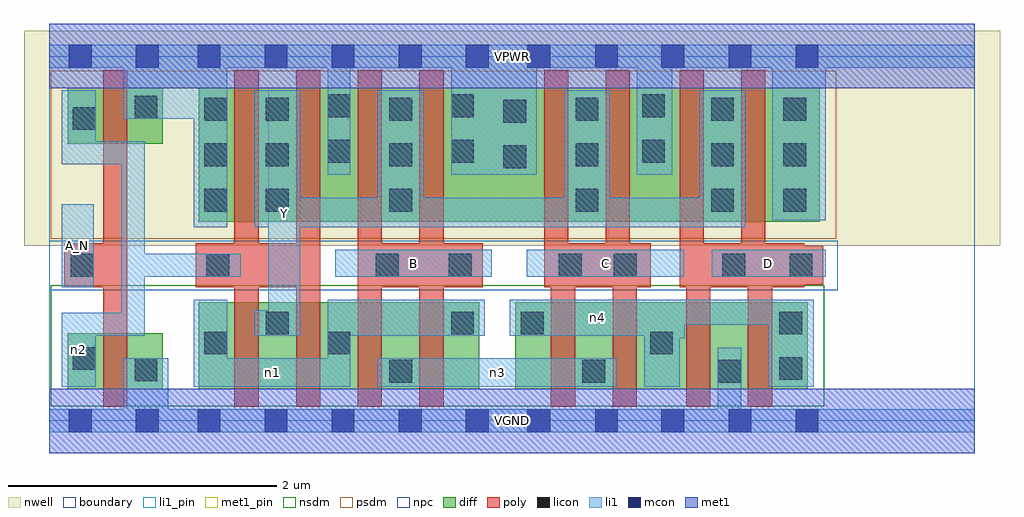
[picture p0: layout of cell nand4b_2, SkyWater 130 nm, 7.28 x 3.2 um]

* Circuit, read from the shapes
.subckt nand4b_2 A_N B C D VGND VPWR Y n1 n2 n3 n4
XM1 VGND A_N n2 VSUBS sky130_fd_pr__nfet_01v8 w=0.42 l=0.18
XM2 Y n2 n1 VSUBS sky130_fd_pr__nfet_01v8 w=0.65 l=0.18 m=2
XM3 n3 B n1 VSUBS sky130_fd_pr__nfet_01v8 w=0.65 l=0.18 m=2
XM4 n3 C n4 VSUBS sky130_fd_pr__nfet_01v8 w=0.65 l=0.18 m=2
XM5 VGND D n4 VSUBS sky130_fd_pr__nfet_01v8 w=0.65 l=0.18 m=2
XM6 VPWR A_N n2 n5 sky130_fd_pr__pfet_01v8 w=0.42 l=0.18
XM7 Y n2 VPWR n5 sky130_fd_pr__pfet_01v8 w=1 l=0.18 m=2
XM8 Y B VPWR n5 sky130_fd_pr__pfet_01v8 w=1 l=0.18 m=2
XM9 Y C VPWR n5 sky130_fd_pr__pfet_01v8 w=1 l=0.18 m=2
XM10 Y D VPWR n5 sky130_fd_pr__pfet_01v8 w=1 l=0.18 m=2
.ends

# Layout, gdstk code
import gdstk
lib = gdstk.Library(unit=1e-6, precision=1e-09)
def R(c, l, rs):  # rectangles x0, y0, x1, y1
    for r in rs: c.add(gdstk.rectangle(r[:2], r[2:], *l))
def A(c, l, x, y, w, h, nx, ny, dx, dy):  # array of equal rectangles
    R(c, l, [(x+i*dx, y+j*dy, x+i*dx+w, y+j*dy+h) for i in range(nx) for j in range(ny)])
nwell = (64, 20)
diff = (65, 20)
poly = (66, 20)
licon = (66, 44)
li1_pin = (67, 16)
li1 = (67, 20)
mcon = (67, 44)
met1_pin = (68, 16)
met1 = (68, 20)
nsdm = (93, 44)
psdm = (94, 20)
npc = (95, 20)
boundary = (235, 4)

nand4b_2 = lib.new_cell('nand4b_2')
R(nand4b_2, nwell, [(-0.19,1.305,7.09,2.91), (0,1.305,6.9,2.91)])
R(nand4b_2, diff, [(0.135,0.235,0.845,0.655), (1.115,0.235,3.205,0.885), (3.475,0.235,5.655,0.885), (1.115,1.485,5.745,2.485), (0.135,2.065,0.845,2.485)])
A(nand4b_2, poly, 1.38, 0.105, 0.18, 2.51, 4, 1, 0.46, 0)
R(nand4b_2, poly, [(0.4,0.105,0.58,2.615), (3.74,0.105,3.92,1.325), (4.2,0.105,4.38,1.325), (4.75,0.105,4.93,1.325), (5.21,0.105,5.39,1.325), (0.11,0.995,0.58,1.325), (1.09,0.995,2.02,1.325), (2.3,0.995,3.23,1.325), (3.69,0.995,3.87,2.615), (3.69,0.995,4.485,1.325), (4.15,0.995,4.33,2.615), (4.7,0.995,5.63,1.325), (4.7,0.995,4.88,2.615), (5.16,0.995,5.34,2.615), (4.7,1.015,5.77,1.305)])
A(nand4b_2, licon, 1.155, 1.56, 0.17, 0.17, 1, 3, 0, 0.34)
A(nand4b_2, licon, 1.615, 1.56, 0.17, 0.17, 1, 3, 0, 0.34)
A(nand4b_2, licon, 2.535, 1.56, 0.17, 0.17, 1, 3, 0, 0.34)
A(nand4b_2, licon, 3.925, 1.56, 0.17, 0.17, 1, 3, 0, 0.34)
A(nand4b_2, licon, 4.935, 1.56, 0.17, 0.17, 1, 3, 0, 0.34)
A(nand4b_2, licon, 5.475, 1.56, 0.17, 0.17, 1, 3, 0, 0.34)
R(nand4b_2, licon, [(2.535,0.285,2.705,0.455), (3.975,0.285,4.145,0.455), (4.985,0.285,5.155,0.455), (0.635,0.295,0.805,0.465), (5.445,0.305,5.615,0.475), (0.175,0.38,0.345,0.55), (1.155,0.495,1.325,0.665), (2.075,0.495,2.245,0.665), (4.48,0.495,4.65,0.665), (1.615,0.645,1.785,0.815), (2.995,0.645,3.165,0.815), (3.515,0.645,3.685,0.815), (5.445,0.645,5.615,0.815), (0.16,1.075,0.33,1.245), (1.17,1.075,1.34,1.245), (2.435,1.075,2.605,1.245), (2.98,1.075,3.15,1.245), (3.8,1.075,3.97,1.245), (4.21,1.075,4.38,1.245), (5.02,1.075,5.19,1.245), (5.52,1.075,5.69,1.245), (3.385,1.885,3.555,2.055), (2.075,1.925,2.245,2.095), (2.995,1.925,3.165,2.095), (4.42,1.925,4.59,2.095), (0.175,2.17,0.345,2.34), (3.385,2.225,3.555,2.395), (0.635,2.255,0.805,2.425), (2.075,2.265,2.245,2.435), (2.995,2.265,3.165,2.435), (4.42,2.265,4.59,2.435)])
R(nand4b_2, li1_pin, [(1.63,0.635,1.87,2.465), (0.09,0.995,0.33,1.615), (2.13,1.075,3.3,1.275), (3.56,1.075,4.735,1.275), (4.94,1.075,5.79,1.275)])
R(nand4b_2, li1, [(0,-0.085,6.9,0.085), (0.55,-0.085,0.885,0.465), (4.985,-0.085,5.16,0.545), (0.09,0.255,0.345,0.805), (1.075,0.255,2.245,0.465), (1.075,0.255,1.325,0.905), (2.075,0.255,2.245,0.905), (2.45,0.255,4.23,0.465), (4.435,0.255,4.7,0.905), (5.36,0.255,5.7,0.905), (4.435,0.615,4.74,0.905), (0.09,0.635,0.71,0.805), (0.535,0.635,0.71,2.085), (1.53,0.635,1.87,0.825), (1.63,0.635,1.87,2.465), (2.075,0.635,3.245,0.905), (3.435,0.635,4.74,0.905), (3.435,0.715,5.7,0.905), (0.09,0.995,0.33,1.615), (0.535,1.075,1.425,1.245), (2.13,1.075,3.3,1.275), (3.56,1.075,4.735,1.275), (4.94,1.075,5.79,1.275), (1.075,1.445,1.325,2.805), (1.53,1.445,5.19,1.665), (1.53,1.445,1.87,2.465), (2.45,1.445,2.79,2.465), (3.84,1.445,4.18,2.465), (4.85,1.445,5.19,2.465), (5.39,1.495,5.79,2.805), (2.075,1.835,2.245,2.805), (2.995,1.835,3.635,2.805), (4.38,1.835,4.645,2.805), (0.09,1.915,0.345,2.465), (0.09,1.915,0.71,2.085), (0.55,2.255,1.325,2.805), (0,2.635,6.9,2.805)])
A(nand4b_2, mcon, 1.105, -0.085, 0.17, 0.17, 5, 2, 0.5, 2.72)
A(nand4b_2, mcon, 4.565, -0.085, 0.17, 0.17, 3, 2, 0.5, 2.72)
R(nand4b_2, mcon, [(0.145,-0.085,0.315,0.085), (0.645,-0.085,0.815,0.085), (3.565,-0.085,3.735,0.085), (4.07,-0.085,4.24,0.085), (0.145,2.635,0.315,2.805), (0.645,2.635,0.815,2.805), (3.565,2.635,3.735,2.805), (4.07,2.635,4.24,2.805)])
R(nand4b_2, met1_pin, [(0,-0.24,6.9,0.24), (0,2.48,6.9,2.96)])
R(nand4b_2, met1, [(0,-0.24,6.9,0.24), (0,2.48,6.9,2.96)])
R(nand4b_2, nsdm, [(0.01,0.11,5.78,1.01)])
R(nand4b_2, psdm, [(0.01,1.36,5.87,2.61)])
R(nand4b_2, npc, [(0,0.975,5.88,1.345)])
R(nand4b_2, boundary, [(0,0,6.9,2.72)])
nand4b_2.add(gdstk.Label('A_N', (0.21,1.305), layer=67, texttype=5))
nand4b_2.add(gdstk.Label('B', (2.715,1.175), layer=67, texttype=5))
nand4b_2.add(gdstk.Label('C', (4.147,1.175), layer=67, texttype=5))
nand4b_2.add(gdstk.Label('D', (5.365,1.175), layer=67, texttype=5))
nand4b_2.add(gdstk.Label('Y', (1.75,1.55), layer=67, texttype=5))
nand4b_2.add(gdstk.Label('n3', (3.34,0.36), layer=67, texttype=5))
nand4b_2.add(gdstk.Label('n1', (1.66,0.36), layer=67, texttype=5))
nand4b_2.add(gdstk.Label('n4', (4.087,0.77), layer=67, texttype=5))
nand4b_2.add(gdstk.Label('n2', (0.217,0.53), layer=67, texttype=5))
nand4b_2.add(gdstk.Label('VPWR', (3.45,2.72), layer=68, texttype=5))
nand4b_2.add(gdstk.Label('VGND', (3.45,0), layer=68, texttype=5))
nand4b_2.add(gdstk.Label('A_N', (0.21,1.305), layer=67, texttype=16))
nand4b_2.add(gdstk.Label('B', (2.715,1.175), layer=67, texttype=16))
nand4b_2.add(gdstk.Label('C', (4.147,1.175), layer=67, texttype=16))
nand4b_2.add(gdstk.Label('D', (5.365,1.175), layer=67, texttype=16))
nand4b_2.add(gdstk.Label('Y', (1.75,1.55), layer=67, texttype=16))
nand4b_2.add(gdstk.Label('VPWR', (3.45,2.72), layer=68, texttype=16))
nand4b_2.add(gdstk.Label('VGND', (3.45,0), layer=68, texttype=16))

lib.write_gds('nand4b_2.gds')
